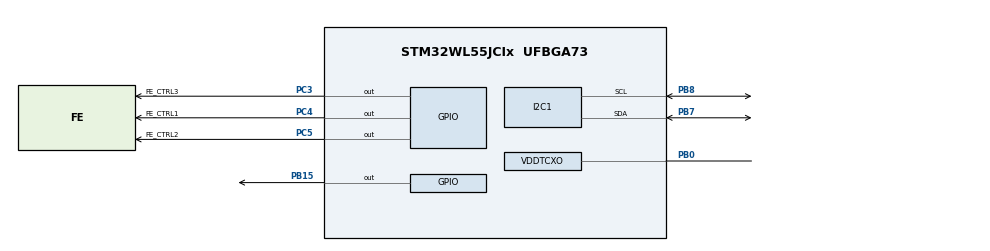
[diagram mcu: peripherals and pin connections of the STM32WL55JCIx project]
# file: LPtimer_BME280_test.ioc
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I2C1.Timing=0x00100D14
Mcu.Family=STM32WL
Mcu.Name=STM32WL55JCIx
Mcu.Package=UFBGA73
Mcu.UserConstants=RTC_PREDIV_A,((1<<(15-RTC_N_PREDIV_S))-1);RTC_N_PREDIV_S,10;RTC_PREDIV_S,((1<<RTC_N_PREDIV_S)-1)
NUCLEO-WL55JC1.BUTTON=1
NUCLEO-WL55JC1.LD1=true
NVIC.I2C1_ER_IRQn=true\:0\:0\:false\:false\:true\:true\:true\:true
NVIC.I2C1_EV_IRQn=true\:0\:0\:false\:false\:true\:true\:true\:true
NVIC.PriorityGroup=NVIC_PRIORITYGROUP_4
NVIC.RTC_Alarm_IRQn=true\:0\:0\:false\:false\:true\:true\:true\:true
NVIC.TAMP_STAMP_LSECSS_SSRU_IRQn=true\:0\:0\:false\:false\:true\:true\:true\:true
OSC_IN.Mode=HSE-TCXO
OSC_IN.Signal=RCC_OSC_IN
PA2.GPIO_Label=T_VCP_RX
PA2.Signal=USART2_TX
PA3.GPIO_Label=T_VCP_RX
PA3.Signal=USART2_RX
PB0-VDD_TCXO.Mode=HSE-TCXO
PB0-VDD_TCXO.Signal=VDDTCXO
PB15.Signal=GPIO_Output
PB7.Mode=I2C
PB7.Signal=I2C1_SDA
PB8.Mode=I2C
PB8.Signal=I2C1_SCL
PC14-OSC32_IN.GPIO_Label=RCC_OSC32_IN
PC14-OSC32_IN.Mode=LSE-External-Oscillator
PC14-OSC32_IN.Signal=RCC_OSC32_IN
PC15-OSC32_OUT.GPIO_Label=RCC_OSC32_OUT
PC15-OSC32_OUT.Mode=LSE-External-Oscillator
PC15-OSC32_OUT.Signal=RCC_OSC32_OUT
PC3.GPIO_Label=FE_CTRL3
PC3.GPIO_Speed=GPIO_SPEED_FREQ_VERY_HIGH
PC3.Signal=GPIO_Output
PC4.GPIO_Label=FE_CTRL1
PC4.GPIO_Speed=GPIO_SPEED_FREQ_VERY_HIGH
PC4.Signal=GPIO_Output
PC5.GPIO_Label=FE_CTRL2
PC5.GPIO_Speed=GPIO_SPEED_FREQ_VERY_HIGH
PC5.Signal=GPIO_Output
ProjectManager.HeapSize=0x200
ProjectManager.StackSize=0x400
ProjectManager.TargetToolchain=STM32CubeIDE
RCC.FLatency=FLASH_LATENCY_2
RCC.HSE_VALUE=32000000
RCC.HSI_VALUE=16000000
RCC.LSE_VALUE=32768
RCC.PWR_Regulator_Voltage_Scale=PWR_REGULATOR_VOLTAGE_SCALE1
RCC.VCOOutputFreq_Value=32000000
RTC.Alarm-Alarm\ A=RTC_ALARM_A
RTC.AsynchPrediv=RTC_PREDIV_A
RTC.BinMode=RTC_BINARY_ONLY
RTC.BinaryAutoClr_A-Alarm\ A=RTC_ALARMSUBSECONDBIN_AUTOCLR_NO
VP_NUCLEO-WL55JC1_VS_BSP_COMMON.Mode=COMMON
VP_RTC_VS_RTC_Activate.Mode=RTC_Enabled
VP_RTC_VS_RTC_Alarm_A_Intern.Mode=Alarm A
VP_RTC_VS_RTC_Calendar.Mode=RTC_Calendar
board=NUCLEO-WL55JC1

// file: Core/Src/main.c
/* USER CODE BEGIN Header */
/**
  ******************************************************************************
  * @file           : main.c
  * @brief          : Main program body
  ******************************************************************************
  * @attention
  *
  * Copyright (c) 2025 STMicroelectronics.
  * All rights reserved.
  *
  * This software is licensed under terms that can be found in the LICENSE file
  * in the root directory of this software component.
  * If no LICENSE file comes with this software, it is provided AS-IS.
  *
  ******************************************************************************
  */
/* USER CODE END Header */
#include "main.h"
#include "i2c.h"
#include "rtc.h"
#include "gpio.h"
/* USER CODE BEGIN Includes */
#include "app_bme280.h"
#include "timer_if.h"
#include "logger.h"
/* USER CODE END Includes */

/* USER CODE BEGIN PD */
#define LED_PERIOD_TIME 2000
/* USER CODE END PD */

void SystemClock_Config(void);
/* USER CODE BEGIN PFP */
/**
  * @brief  LED timer callback function
  * @param  context ptr of LED context
  */
void OnTimerLedEvent(void *context);
/* USER CODE END PFP */

/* USER CODE BEGIN 0 */
extern void initialise_monitor_handles(void);

UTIL_TIMER_Object_t ledTimer;

static bool isTimerExpired = false;
/* USER CODE END 0 */

int main(void)
{

  /* USER CODE BEGIN 1 */
	initialise_monitor_handles();
  /* USER CODE END 1 */

  /* MCU Configuration--------------------------------------------------------*/

  /* Reset of all peripherals, Initializes the Flash interface and the Systick. */
  HAL_Init();

  /* Configure the system clock */
  SystemClock_Config();

  /* USER CODE BEGIN SysInit */
  UTIL_TIMER_Init();
  /* USER CODE END SysInit */

  /* Initialize all configured peripherals */
  MX_GPIO_Init();
  MX_RTC_Init();
  MX_I2C1_Init();
  /* USER CODE BEGIN 2 */
  initialize_bme280_sensor();
  UTIL_TIMER_Create(&ledTimer, LED_PERIOD_TIME, UTIL_TIMER_ONESHOT, OnTimerLedEvent, NULL);
  /* USER CODE END 2 */

  /* Initialize leds */
  BSP_LED_Init(LED_BLUE);

  /* Initialize USER push-button, will be used to trigger an interrupt each time it's pressed.*/
  BSP_PB_Init(BUTTON_SW1, BUTTON_MODE_EXTI);

  /* Infinite loop */
  /* USER CODE BEGIN WHILE */
  UTIL_TIMER_Start(&ledTimer);
  while (1)
  {
	  if(isTimerExpired){
		  isTimerExpired = false;
		  sensor_data_acquisition();
	  }
    /* USER CODE END WHILE */

    /* USER CODE BEGIN 3 */
	  // __WFI()  (Wait For Interrupt) El procesador se detiene temporalmente hasta que ocurra una interrupción,
	  //UTIL_LPM_EnterLowPower();
  }
  /* USER CODE END 3 */
}

void SystemClock_Config(void)
{
  RCC_OscInitTypeDef RCC_OscInitStruct = {0};
  RCC_ClkInitTypeDef RCC_ClkInitStruct = {0};

  /** Configure LSE Drive Capability
  */
  HAL_PWR_EnableBkUpAccess();
  __HAL_RCC_LSEDRIVE_CONFIG(RCC_LSEDRIVE_LOW);

  /** Configure the main internal regulator output voltage
  */
  __HAL_PWR_VOLTAGESCALING_CONFIG(PWR_REGULATOR_VOLTAGE_SCALE1);

  /** Initializes the CPU, AHB and APB buses clocks
  */
  RCC_OscInitStruct.OscillatorType = RCC_OSCILLATORTYPE_LSI|RCC_OSCILLATORTYPE_LSE
                              |RCC_OSCILLATORTYPE_MSI;
  RCC_OscInitStruct.LSEState = RCC_LSE_ON;
  RCC_OscInitStruct.MSIState = RCC_MSI_ON;
  RCC_OscInitStruct.MSICalibrationValue = RCC_MSICALIBRATION_DEFAULT;
  RCC_OscInitStruct.MSIClockRange = RCC_MSIRANGE_6;
  RCC_OscInitStruct.LSIDiv = RCC_LSI_DIV1;
  RCC_OscInitStruct.LSIState = RCC_LSI_ON;
  RCC_OscInitStruct.PLL.PLLState = RCC_PLL_NONE;
  if (HAL_RCC_OscConfig(&RCC_OscInitStruct) != HAL_OK)
  {
    Error_Handler();
  }

  /** Configure the SYSCLKSource, HCLK, PCLK1 and PCLK2 clocks dividers
  */
  RCC_ClkInitStruct.ClockType = RCC_CLOCKTYPE_HCLK3|RCC_CLOCKTYPE_HCLK
                              |RCC_CLOCKTYPE_SYSCLK|RCC_CLOCKTYPE_PCLK1
                              |RCC_CLOCKTYPE_PCLK2;
  RCC_ClkInitStruct.SYSCLKSource = RCC_SYSCLKSOURCE_MSI;
  RCC_ClkInitStruct.AHBCLKDivider = RCC_SYSCLK_DIV1;
  RCC_ClkInitStruct.APB1CLKDivider = RCC_HCLK_DIV1;
  RCC_ClkInitStruct.APB2CLKDivider = RCC_HCLK_DIV1;
  RCC_ClkInitStruct.AHBCLK3Divider = RCC_SYSCLK_DIV1;

  if (HAL_RCC_ClockConfig(&RCC_ClkInitStruct, FLASH_LATENCY_2) != HAL_OK)
  {
    Error_Handler();
  }
}

/* USER CODE BEGIN 4 */
void OnTimerLedEvent(void *param)
{
	isTimerExpired = true;
	LOGGER_LOG("Timer Expired - Take a measurement\n");
	UTIL_TIMER_Start(&ledTimer);
}
/* USER CODE END 4 */

void Error_Handler(void)
{
  __disable_irq();
  while (1)
  {
  }
}
